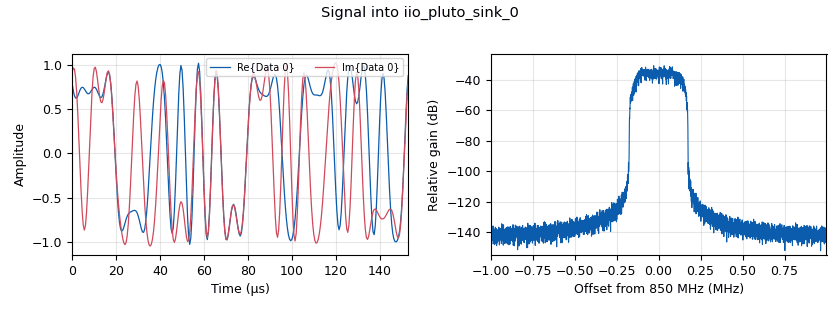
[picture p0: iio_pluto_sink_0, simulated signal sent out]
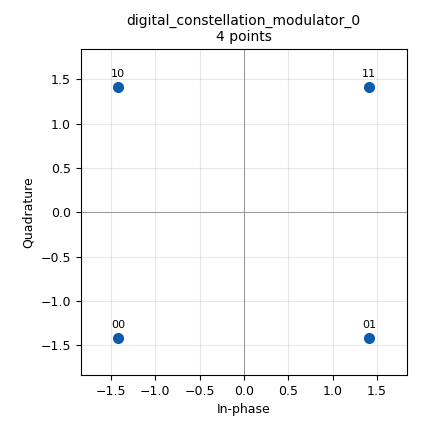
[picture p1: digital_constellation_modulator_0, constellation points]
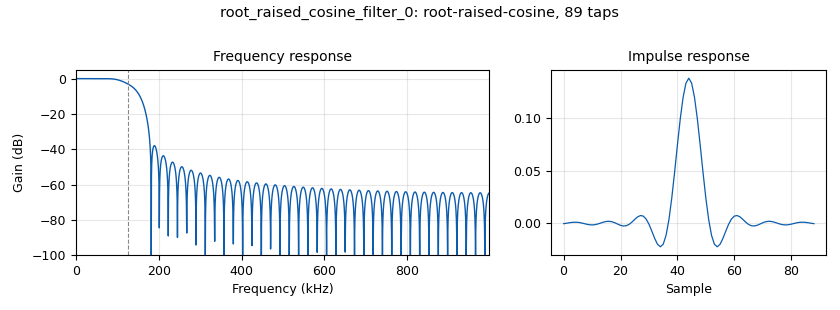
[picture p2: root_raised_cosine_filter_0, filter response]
options:
  parameters:
    author: emmanuelkwakyenyantakyi
    generate_options: qt_gui
    id: qpsk_mod_hier_block_5_2
    output_language: python
    title: GRC QPSK modulator with hierarchical block.
  states: {}

blocks:
- name: my_const_qpsk
  id: variable_constellation
  parameters:
    precision: '8'
    type: qpsk
  states: {}
- name: noise_level
  id: variable_qtgui_range
  parameters:
    start: '0'
    step: '0.1'
    stop: '10'
    value: '1'
  states: {}
- name: samp_rate
  id: variable
  parameters:
    value: 2e6
  states: {}
- name: sps
  id: variable
  parameters:
    value: '8'
  states: {}
- name: analog_noise_source_x_0
  id: analog_noise_source_x
  parameters:
    amp: noise_level
    noise_type: analog.GR_GAUSSIAN
    seed: '0'
    type: complex
  states: {}
- name: analog_random_source_x_0
  id: analog_random_source_x
  parameters:
    max: '255'
    min: '0'
    num_samps: int(10e3)
    repeat: 'True'
    type: byte
  states: {}
- name: blocks_add_xx_0
  id: blocks_add_xx
  parameters:
    type: complex
  states: {}
- name: blocks_multiply_const_vxx_0
  id: blocks_multiply_const_vxx
  parameters:
    const: '0.5'
    type: complex
  states: {}
- name: digital_constellation_modulator_0
  id: digital_constellation_modulator
  parameters:
    constellation: my_const_qpsk
    differential: 'False'
    excess_bw: '0.4'
    samples_per_symbol: sps
  states: {}
- name: digital_symbol_sync_xx_0
  id: digital_symbol_sync_xx
  parameters:
    constellation: digital.constellation_qpsk().base()
    damping: '1.0'
    loop_bw: '0.045'
    max_dev: '1.5'
    osps: '1'
    resamp_type: digital.IR_MMSE_8TAP
    sps: sps
    ted_gain: '1.0'
    ted_type: digital.TED_MUELLER_AND_MULLER
    type: cc
  states: {}
- name: iio_pluto_sink_0
  id: iio_pluto_sink
  parameters:
    attenuation1: '10.0'
    bandwidth: '20000000'
    buffer_size: '32768'
    cyclic: 'False'
    filter_source: '''Auto'''
    frequency: int(850e6)
    samplerate: int(samp_rate)
    type: fc32
    uri: usb:0.2.5
  states: {}
- name: iio_pluto_source_0
  id: iio_pluto_source
  parameters:
    bandwidth: '20000000'
    bbdc: 'True'
    buffer_size: '32768'
    filter_source: '''Auto'''
    frequency: int(850e6)
    gain1: '''manual'''
    manual_gain1: '40'
    quadrature: 'True'
    rfdc: 'True'
    samplerate: int(samp_rate)
    type: fc32
    uri: usb:0.2.5
  states: {}
- name: qtgui_const_sink_x_0
  id: qtgui_const_sink_x
  parameters:
    autoscale: 'True'
    size: 1024*2
    type: complex
  states: {}
- name: root_raised_cosine_filter_0
  id: root_raised_cosine_filter
  parameters:
    alpha: '0.4'
    decim: '1'
    gain: '1'
    ntaps: int(11*sps)
    samp_rate: samp_rate
    sym_rate: samp_rate/sps
    type: fir_filter_ccf
  states: {}

connections:
- [analog_noise_source_x_0, '0', blocks_add_xx_0, '1']
- [analog_random_source_x_0, '0', digital_constellation_modulator_0, '0']
- [blocks_add_xx_0, '0', root_raised_cosine_filter_0, '0']
- [blocks_multiply_const_vxx_0, '0', iio_pluto_sink_0, '0']
- [digital_constellation_modulator_0, '0', blocks_multiply_const_vxx_0, '0']
- [digital_symbol_sync_xx_0, '0', qtgui_const_sink_x_0, '0']
- [iio_pluto_source_0, '0', blocks_add_xx_0, '0']
- [root_raised_cosine_filter_0, '0', digital_symbol_sync_xx_0, '0']

metadata:
  file_format: 1
  grc_version: 3.10.12.0
